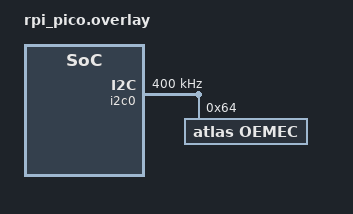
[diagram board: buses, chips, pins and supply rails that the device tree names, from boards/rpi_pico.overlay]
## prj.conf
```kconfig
CONFIG_I2C=y
CONFIG_SHELL=y
CONFIG_I2C_SHELL=y
CONFIG_LOG=y
CONFIG_LOG_PRINTK=y
CONFIG_CONSOLE=y
CONFIG_UART_CONSOLE=y
CONFIG_SENSOR=y
```

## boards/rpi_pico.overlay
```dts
&i2c0{
	clock-frequency = <I2C_BITRATE_FAST>;
	status = "okay";
	pinctrl-0 = <&i2c0_default>;
	pinctrl-names = "default";
oemec:oemec@64{
		compatible = "atlas,oemec";
		status = "okay";
		reg = <0x64>;
	};
 };
		
```

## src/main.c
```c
#include <zephyr/kernel.h>
#include <zephyr/device.h>
#include <zephyr/drivers/sensor.h>
#include <zephyr/sys/printk.h>
#include <zephyr/logging/log.h>
#include <zephyr/shell/shell.h>
#include <oemec.h>

LOG_MODULE_REGISTER(simple_app);

const struct device * dev;

static int cmd_calib_clear(const struct shell *sh,
                           size_t argc, char **argv, void *data)
{
  int rc = sensor_attr_set(dev,SENSOR_CHAN_OEMEC_CONDUCTIVITY,SENSOR_ATTR_OEMEC_CALIBRATION_CLEAR,NULL);
  shell_print(sh,"Setting attribute for calibration clear - %d",rc);
  return rc;
}

static int cmd_calib_dry(const struct shell *sh,
                           size_t argc, char **argv, void *data)
{
  struct sensor_value calib = {};
  calib.val1 = atoi(argv[1]);
  int rc = sensor_attr_set(dev,SENSOR_CHAN_OEMEC_CONDUCTIVITY,SENSOR_ATTR_OEMEC_CALIBRATION_DRY,&calib);
  shell_print(sh,"Setting attribute for calibration dry - %d",rc);
  return 0;
}

static int cmd_calib_single(const struct shell *sh,
                         size_t argc, char **argv, void *data)
{
  struct sensor_value calib = {};
  calib.val1 = atoi(argv[1]);
  int rc = sensor_attr_set(dev,SENSOR_CHAN_OEMEC_CONDUCTIVITY,SENSOR_ATTR_OEMEC_CALIBRATION_SINGLE,&calib);
  shell_print(sh,"Setting attribute for calibration single - %d",rc);
  return 0;
}

static int cmd_calib_dual_low(const struct shell *sh,
                         size_t argc, char **argv, void *data)
{
  struct sensor_value calib = {};
  calib.val1 = atoi(argv[1]);
  int rc = sensor_attr_set(dev,SENSOR_CHAN_OEMEC_CONDUCTIVITY,SENSOR_ATTR_OEMEC_CALIBRATION_DUAL_LOW,&calib);
  shell_print(sh,"Setting attribute for calibration dual low - %d",rc);
  return 0;
}

static int cmd_calib_dual_high(const struct shell *sh,
                         size_t argc, char **argv, void *data)
{
  struct sensor_value calib = {};
  calib.val1 = atoi(argv[1]);
  int rc = sensor_attr_set(dev,SENSOR_CHAN_OEMEC_CONDUCTIVITY,SENSOR_ATTR_OEMEC_CALIBRATION_DUAL_HIGH,&calib);
  shell_print(sh,"Setting attribute for calibration dual high - %d",rc);
  return 0;
}
/* Creating subcommands (level 1 command) array for command "demo". */
SHELL_STATIC_SUBCMD_SET_CREATE(sub_demo,
                               SHELL_CMD(clear, NULL, " Clear",
                                         cmd_calib_clear),
                               SHELL_CMD(dry,   NULL, " Dry", cmd_calib_dry),
                               SHELL_CMD(single,   NULL, " Single", cmd_calib_single),
                               SHELL_CMD(duallow,   NULL, " Low val of dual", cmd_calib_dual_low),
                               SHELL_CMD(dualhigh,   NULL, " High val of dual", cmd_calib_dual_high),
                               SHELL_SUBCMD_SET_END
                               );
/* Creating root (level 0) command "demo" */
SHELL_CMD_REGISTER(demo, &sub_demo, "Calib commands", NULL);



int main(void)
{
  int rc;
  LOG_INF("Running OEMEC simple app on %s\n", CONFIG_BOARD);
  dev = DEVICE_DT_GET_ANY(atlas_oemec);
  if (dev == NULL) {
    LOG_INF("No device found");
    return 0;
  }

  LOG_INF("Setting attributes");

  struct sensor_value probe = { // K=4.56
    .val1 = 456,
  };
  rc = sensor_attr_set(dev,SENSOR_CHAN_OEMEC_CONDUCTIVITY,SENSOR_ATTR_OEMEC_PROBE,&probe);
  LOG_INF("Set probe returned %d",rc);

  struct sensor_value conductivity;
  /* while (true) { */
  /*   rc = sensor_sample_fetch_chan(dev,SENSOR_CHAN_OEMEC_CONDUCTIVITY); */
  /*   if (rc != 0 ){ */
  /*           LOG_ERR("OEMEC failed: %d",rc); */
  /*     break; */
  /*   } */
  /*   else { // read channels */
  /*     rc = sensor_channel_get(dev, SENSOR_CHAN_OEMEC_CONDUCTIVITY, &conductivity); */
  /*           LOG_INF("Conductivity value %f", sensor_value_to_double(&conductivity)); */
  /*   } */
  /*   k_msleep(2000); */
  /* } */

  while(true){
    k_msleep(2000);
  }
  return 0;
}
```
